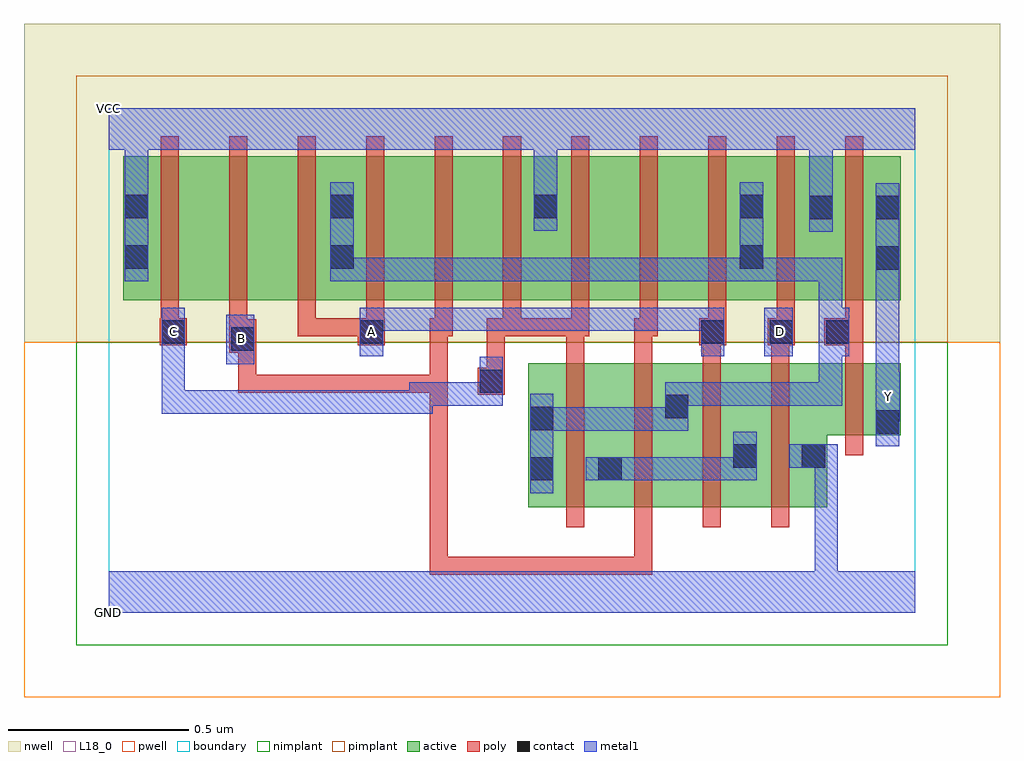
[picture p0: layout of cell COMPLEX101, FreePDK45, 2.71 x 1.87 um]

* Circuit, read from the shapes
.subckt COMPLEX101 A B C D GND VCC Y
M1 n1 C n2 VSUBS nfet w=0.4u l=0.05u
M2 n2 B n1 VSUBS nfet w=0.4u l=0.05u
M3 n1 A n2 VSUBS nfet w=0.4u l=0.05u
M4 GND D n1 VSUBS nfet w=0.4u l=0.05u
M5 Y n2 GND VSUBS nfet w=0.2u l=0.05u
M6 n3 C VCC n4 pfet w=0.4u l=0.05u
M7 n5 B n3 n4 pfet w=0.4u l=0.05u
M8 n2 A n5 n4 pfet w=0.4u l=0.05u
M9 n6 A n2 n4 pfet w=0.4u l=0.05u
M10 n7 B n6 n4 pfet w=0.4u l=0.05u
M11 VCC C n7 n4 pfet w=0.4u l=0.05u
M12 n8 C VCC n4 pfet w=0.4u l=0.05u
M13 n9 B n8 n4 pfet w=0.4u l=0.05u
M14 n2 A n9 n4 pfet w=0.4u l=0.05u
M15 VCC D n2 n4 pfet w=0.4u l=0.05u
M16 Y n2 VCC n4 pfet w=0.4u l=0.05u
.ends

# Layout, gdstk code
import gdstk
lib = gdstk.Library(unit=1e-6, precision=1e-09)
def R(c, l, rs):  # rectangles x0, y0, x1, y1
    for r in rs: c.add(gdstk.rectangle(r[:2], r[2:], *l))
def A(c, l, x, y, w, h, nx, ny, dx, dy):  # array of equal rectangles
    R(c, l, [(x+i*dx, y+j*dy, x+i*dx+w, y+j*dy+h) for i in range(nx) for j in range(ny)])
active = (1, 0)
pwell = (2, 0)
nwell = (3, 0)
nimplant = (4, 0)
pimplant = (5, 0)
poly = (9, 0)
contact = (10, 0)
metal1 = (11, 0)
L18_0 = (18, 0)
boundary = (235, 0)

complex101 = lib.new_cell('COMPLEX101')
A(complex101, active, 0.265, 0.867, 0.19, 0.4, 3, 1, 0.57, 0)
R(complex101, active, [(1.165,0.292,1.43,0.692), (1.355,0.292,1.615,0.692), (1.54,0.292,1.805,0.692), (1.73,0.292,1.995,0.692), (1.92,0.292,1.995,0.597), (1.165,0.295,1.24,0.692), (1.355,0.295,1.43,0.537), (1.54,0.295,1.615,0.692), (1.73,0.295,1.805,0.597), (1.92,0.492,2.2,0.692), (2.125,0.492,2.2,0.692), (0.04,0.867,0.265,1.267), (0.04,0.867,0.115,1.205), (0.455,0.867,0.685,1.267), (0.61,0.867,0.835,1.267), (1.025,0.867,1.25,1.267), (1.175,0.867,1.405,1.267), (1.595,0.867,1.822,1.267), (1.747,0.867,2.015,1.267), (1.94,0.867,2.2,1.267), (2.125,0.867,2.2,1.2), (0.61,0.907,0.685,1.2), (1.175,0.907,1.25,1.205), (1.747,0.907,1.822,1.2), (1.94,0.907,2.015,1.205)])
R(complex101, pwell, [(-0.235,-0.235,2.475,0.75)])
R(complex101, nwell, [(-0.235,0.75,2.475,1.635)])
R(complex101, nimplant, [(-0.09,-0.09,2.33,0.75)])
R(complex101, pimplant, [(-0.09,0.75,2.33,1.49)])
A(complex101, poly, 1.27, 0.237, 0.05, 0.51, 4, 1, 0.19, 0)
A(complex101, poly, 0.525, 0.767, 0.05, 0.095, 9, 1, 0.19, 0)
A(complex101, poly, 0.145, 0.812, 0.05, 0.51, 11, 1, 0.19, 0)
R(complex101, poly, [(0.892,0.105,0.942,0.155), (0.892,0.105,0.942,0.155), (0.892,0.105,0.942,0.155), (0.892,0.105,0.942,0.155), (0.892,0.105,0.942,0.155), (0.892,0.105,0.942,0.155), (0.892,0.105,0.942,0.155), (0.892,0.105,1.075,0.155), (0.892,0.105,0.942,0.66), (1.025,0.105,1.075,0.155), (1.025,0.105,1.277,0.155), (1.227,0.105,1.277,0.155), (1.227,0.105,1.277,0.155), (1.227,0.105,1.277,0.155), (1.227,0.105,1.51,0.155), (1.46,0.105,1.51,0.287), (1.46,0.105,1.51,0.155), (1.46,0.105,1.51,0.155), (1.46,0.105,1.51,0.155), (2.045,0.437,2.095,0.747), (1.025,0.605,1.1,0.68), (0.36,0.61,0.41,0.66), (0.36,0.61,0.41,0.66), (0.36,0.61,0.41,0.66), (0.36,0.61,0.41,0.66), (0.36,0.61,0.41,0.66), (0.36,0.61,0.542,0.66), (0.36,0.61,0.41,0.772), (0.492,0.61,0.542,0.66), (0.492,0.61,0.542,0.66), (0.492,0.61,0.542,0.66), (0.492,0.61,0.81,0.66), (0.76,0.61,0.81,0.66), (0.76,0.61,0.81,0.66), (0.76,0.61,0.81,0.66), (0.76,0.61,0.942,0.66), (0.892,0.61,0.942,0.66), (0.892,0.61,0.942,0.817), (1.05,0.63,1.1,0.817), (1.27,0.697,1.32,0.817), (1.46,0.697,1.51,0.817), (1.65,0.697,1.7,0.792), (1.84,0.697,1.89,0.792), (2.045,0.697,2.095,0.792), (0.335,0.722,0.41,0.815), (0.142,0.742,0.217,0.817), (0.692,0.742,0.767,0.817), (1.64,0.742,1.715,0.817), (1.83,0.742,1.905,0.817), (1.987,0.742,2.095,0.817), (0.335,0.765,0.385,0.862), (0.145,0.767,0.195,0.862), (0.525,0.767,0.575,0.817), (0.525,0.767,0.575,0.817), (0.525,0.767,0.575,0.817), (0.525,0.767,0.742,0.817), (0.892,0.767,0.942,0.817), (0.892,0.767,0.942,0.817), (0.892,0.767,0.955,0.817), (1.05,0.767,1.1,0.817), (1.05,0.767,1.1,0.817), (1.05,0.767,1.145,0.817), (1.095,0.767,1.32,0.817), (1.27,0.767,1.335,0.817), (1.27,0.767,1.32,0.817), (1.27,0.767,1.32,0.817), (1.46,0.767,1.525,0.817)])
R(complex101, contact, [(1.17,0.367,1.235,0.432), (1.36,0.367,1.425,0.432), (1.735,0.402,1.8,0.467), (1.925,0.402,1.99,0.467), (2.13,0.497,2.195,0.562), (1.17,0.507,1.235,0.572), (1.545,0.54,1.61,0.605), (1.03,0.61,1.095,0.675), (0.34,0.727,0.405,0.792), (0.147,0.747,0.212,0.812), (0.697,0.747,0.762,0.812), (1.645,0.747,1.71,0.812), (1.835,0.747,1.9,0.812), (1.992,0.747,2.057,0.812), (2.13,0.952,2.195,1.017), (0.045,0.955,0.11,1.02), (0.615,0.955,0.68,1.02), (1.752,0.955,1.817,1.02), (1.945,1.092,2.01,1.157), (2.13,1.092,2.195,1.157), (0.045,1.095,0.11,1.16), (0.615,1.095,0.68,1.16), (1.18,1.095,1.245,1.16), (1.752,1.095,1.817,1.16)])
R(complex101, metal1, [(0,0,2.24,0.115), (1.96,0.05,2.025,0.467), (1.17,0.332,1.235,0.607), (1.325,0.367,1.46,0.432), (1.395,0.367,1.46,0.432), (1.395,0.367,1.46,0.432), (1.395,0.367,1.61,0.432), (1.545,0.367,1.61,0.432), (1.545,0.367,1.61,0.432), (1.545,0.367,1.61,0.432), (1.545,0.367,1.8,0.432), (1.735,0.367,1.8,0.502), (1.89,0.402,2.025,0.467), (1.96,0.402,2.025,0.467), (1.96,0.402,2.025,0.467), (2.13,0.462,2.195,0.597), (1.17,0.505,1.235,0.57), (1.17,0.505,1.235,0.57), (1.17,0.505,1.472,0.57), (1.407,0.505,1.472,0.57), (1.407,0.505,1.472,0.57), (1.407,0.505,1.472,0.57), (1.407,0.505,1.61,0.57), (1.545,0.505,1.61,0.64), (2.13,0.532,2.195,0.597), (2.13,0.532,2.197,0.667), (0.147,0.552,0.212,0.617), (0.147,0.552,0.35,0.617), (0.147,0.552,0.212,0.777), (0.285,0.552,0.35,0.617), (0.285,0.552,0.35,0.617), (0.285,0.552,0.35,0.617), (0.285,0.552,0.542,0.617), (0.477,0.552,0.542,0.617), (0.477,0.552,0.542,0.617), (0.477,0.552,0.542,0.617), (0.477,0.552,0.762,0.617), (0.697,0.552,0.762,0.617), (0.697,0.552,0.9,0.617), (0.835,0.552,0.9,0.617), (0.835,0.552,0.9,0.617), (0.835,0.552,0.9,0.64), (0.835,0.575,1.095,0.64), (1.03,0.575,1.095,0.64), (1.03,0.575,1.095,0.64), (1.03,0.575,1.095,0.64), (1.03,0.575,1.095,0.64), (1.03,0.575,1.095,0.71), (1.545,0.575,1.61,0.64), (1.545,0.575,1.61,0.64), (1.545,0.575,1.817,0.64), (1.752,0.575,1.817,0.64), (1.752,0.575,1.817,0.64), (1.752,0.575,1.817,0.64), (1.752,0.575,2.037,0.64), (1.972,0.575,2.037,0.64), (1.972,0.575,2.037,0.777), (2.13,0.602,2.195,0.982), (0.327,0.69,0.405,0.827), (0.147,0.712,0.212,0.777), (0.147,0.712,0.212,0.777), (0.147,0.712,0.212,0.847), (0.697,0.712,0.762,0.847), (1.645,0.712,1.71,0.847), (1.82,0.712,1.9,0.847), (1.972,0.712,2.037,0.777), (1.972,0.712,2.057,0.777), (1.972,0.712,2.037,0.985), (1.992,0.712,2.057,0.847), (0.697,0.782,0.9,0.847), (0.835,0.782,0.9,0.847), (0.835,0.782,0.9,0.847), (0.835,0.782,0.9,0.847), (0.835,0.782,1.097,0.847), (1.032,0.782,1.097,0.847), (1.032,0.782,1.097,0.847), (1.032,0.782,1.097,0.847), (1.032,0.782,1.235,0.847), (1.17,0.782,1.235,0.847), (1.17,0.782,1.235,0.847), (1.17,0.782,1.235,0.847), (1.17,0.782,1.372,0.847), (1.307,0.782,1.372,0.847), (1.307,0.782,1.472,0.847), (1.407,0.782,1.472,0.847), (1.407,0.782,1.662,0.847), (1.597,0.782,1.662,0.847), (1.597,0.782,1.71,0.847), (2.13,0.917,2.195,1.192), (0.045,0.92,0.11,1.195), (0.615,0.92,0.68,1.195), (0.615,0.92,0.68,0.985), (0.615,0.92,0.68,0.985), (0.615,0.92,0.9,0.985), (0.835,0.92,0.9,0.985), (0.835,0.92,0.9,0.985), (0.835,0.92,0.9,0.985), (0.835,0.92,1.037,0.985), (0.972,0.92,1.037,0.985), (0.972,0.92,1.037,0.985), (0.972,0.92,1.037,0.985), (0.972,0.92,1.235,0.985), (1.17,0.92,1.235,0.985), (1.17,0.92,1.235,0.985), (1.17,0.92,1.235,0.985), (1.17,0.92,1.472,0.985), (1.407,0.92,1.472,0.985), (1.407,0.92,1.472,0.985), (1.407,0.92,1.472,0.985), (1.407,0.92,1.662,0.985), (1.597,0.92,1.662,0.985), (1.597,0.92,1.662,0.985), (1.597,0.92,1.662,0.985), (1.597,0.92,1.817,0.985), (1.752,0.92,1.817,1.195), (1.752,0.92,1.817,0.985), (1.752,0.92,1.817,0.985), (1.752,0.92,2.037,0.985), (1.972,0.92,2.037,0.985), (1.945,1.057,2.01,1.192), (1.18,1.06,1.245,1.195), (1.945,1.127,2.01,1.35), (0.045,1.13,0.11,1.35), (1.18,1.13,1.245,1.35), (0,1.285,2.24,1.4)])
R(complex101, L18_0, [(0,0,2.24,0.115), (1.96,0.05,2.025,0.467), (1.89,0.402,2.025,0.467), (1.96,0.402,2.025,0.467), (1.96,0.402,2.025,0.467), (2.13,0.462,2.195,0.597), (2.13,0.532,2.195,0.597), (2.13,0.532,2.197,0.667), (0.147,0.552,0.212,0.617), (0.147,0.552,0.212,0.777), (0.147,0.552,0.35,0.617), (0.285,0.552,0.35,0.617), (0.285,0.552,0.35,0.617), (0.285,0.552,0.35,0.617), (0.285,0.552,0.542,0.617), (0.477,0.552,0.542,0.617), (0.477,0.552,0.542,0.617), (0.477,0.552,0.542,0.617), (0.477,0.552,0.762,0.617), (0.697,0.552,0.762,0.617), (0.697,0.552,0.9,0.617), (0.835,0.552,0.9,0.617), (0.835,0.552,0.9,0.617), (0.835,0.552,0.9,0.64), (2.132,0.567,2.197,0.632), (0.835,0.575,1.095,0.64), (1.03,0.575,1.095,0.71), (1.03,0.575,1.095,0.64), (1.03,0.575,1.095,0.64), (1.03,0.575,1.095,0.64), (1.03,0.575,1.095,0.64), (2.13,0.602,2.195,0.982), (0.327,0.69,0.405,0.827), (0.147,0.712,0.212,0.847), (0.147,0.712,0.212,0.777), (0.147,0.712,0.212,0.777), (0.697,0.712,0.762,0.847), (1.645,0.712,1.71,0.847), (1.82,0.712,1.9,0.847), (0.337,0.727,0.402,0.792), (0.147,0.747,0.212,0.812), (0.697,0.747,0.762,0.812), (1.832,0.747,1.897,0.812), (0.697,0.782,0.9,0.847), (0.835,0.782,0.9,0.847), (0.835,0.782,0.9,0.847), (0.835,0.782,0.9,0.847), (0.835,0.782,1.097,0.847), (1.032,0.782,1.097,0.847), (1.032,0.782,1.097,0.847), (1.032,0.782,1.097,0.847), (1.032,0.782,1.235,0.847), (1.17,0.782,1.235,0.847), (1.17,0.782,1.235,0.847), (1.17,0.782,1.235,0.847), (1.17,0.782,1.372,0.847), (1.307,0.782,1.372,0.847), (1.307,0.782,1.472,0.847), (1.407,0.782,1.472,0.847), (1.407,0.782,1.662,0.847), (1.597,0.782,1.662,0.847), (1.597,0.782,1.71,0.847), (2.13,0.917,2.195,1.192), (0.045,0.92,0.11,1.195), (1.945,1.057,2.01,1.192), (1.18,1.06,1.245,1.195), (1.945,1.127,2.01,1.35), (0.045,1.13,0.11,1.35), (1.18,1.13,1.245,1.35), (0,1.285,2.24,1.4)])
R(complex101, boundary, [(0,0,2.24,1.4)])
complex101.add(gdstk.Label('A', (0.73,0.78), layer=11, texttype=0))
complex101.add(gdstk.Label('B', (0.37,0.76), layer=11, texttype=0))
complex101.add(gdstk.Label('C', (0.18,0.78), layer=11, texttype=0))
complex101.add(gdstk.Label('D', (1.865,0.78), layer=11, texttype=0))
complex101.add(gdstk.Label('Y', (2.165,0.6), layer=11, texttype=0))
complex101.add(gdstk.Label('VCC', (0,1.4), layer=11, texttype=0))
complex101.add(gdstk.Label('GND', (0,0), layer=11, texttype=0))

lib.write_gds('COMPLEX101.gds')
